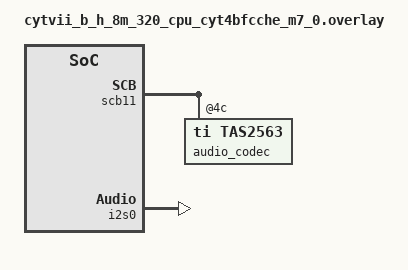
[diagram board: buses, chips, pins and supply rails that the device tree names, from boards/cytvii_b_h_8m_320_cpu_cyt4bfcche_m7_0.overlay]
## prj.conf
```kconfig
CONFIG_I2S=y
#CONFIG_I2C=y
CONFIG_SPI=y
CONFIG_DMA=y
CONFIG_AUDIO=y
CONFIG_AUDIO_CODEC=y
CONFIG_LOG=y
CONFIG_I2S_INFINEON_TX_QUEUE_SIZE=32
CONFIG_I2S_INFINEON_RX_QUEUE_SIZE=32
CONFIG_SAMPLE_FREQ=32000

CONFIG_MAIN_STACK_SIZE=4096
# CONFIG_NO_OPTIMIZATIONS=y
CONFIG_LOG=y
CONFIG_LOG_DEFAULT_LEVEL=3
CONFIG_ISR_STACK_SIZE=4096
CONFIG_LOG=y
CONFIG_LOG_MODE_MINIMAL=y
CONFIG_MPU_STACK_GUARD=y
```

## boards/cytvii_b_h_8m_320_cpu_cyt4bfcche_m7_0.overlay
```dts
/ {
        aliases {
                i2s-codec-tx = &i2s0;
        };
};

&scb11 {
        status = "okay";

	 audio_codec: tas2563@4c {
                compatible = "ti,tas2563";
                reg = <0x4c>;
                status = "okay";
        };
};

&dma1 {
	status = "okay";
};

/*
&clk_hf7 {
	status = "okay";
};

&clk_hf6 {
	status = "okay";
};

&clk_hf5 {
	status = "okay";
};
*/
&i2s0 {
        status = "okay";
};
```

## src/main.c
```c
/*
 * Copyright (c) 2026 Linumiz
 */

#include <zephyr/kernel.h>
#include <zephyr/sys/printk.h>
#include <zephyr/drivers/i2c.h>
#include <zephyr/drivers/i2s.h>
#include <zephyr/audio/codec.h>
#include <zephyr/toolchain.h>

#include "song.h"   /* provides __16kHz_16bit_stereo_sine_pcm + _len */

#define I2S_CODEC_TX       DT_ALIAS(i2s_codec_tx)
#define SAMPLE_FREQUENCY   CONFIG_SAMPLE_FREQ
#define SAMPLE_BIT_WIDTH   16U
#define NUMBER_OF_CHANNELS 2U

/* Keep this small (your i2s_infineon driver was failing with big blocks) */
#define BLOCK_SIZE         320U

#define TIMEOUT_MS         2000U

/* Provide enough slab blocks so the driver queue can stay fed */
#define BLOCK_COUNT        16

K_MEM_SLAB_DEFINE_IN_SECT_STATIC(mem_slab, __nocache, BLOCK_SIZE, BLOCK_COUNT, 4);

static int i2s_send_block_retry(const struct device *i2s_dev, void *mem_block, size_t block_size)
{
    int ret;

    do {
        ret = i2s_buf_write(i2s_dev, mem_block, block_size);
        if (ret == -EAGAIN) {
            /* TX queue full -> let ISR/DMA consume and retry */
            k_msleep(1);
        }
//	printf("in a loop\n");
    } while (ret == -EAGAIN);

    return ret;
}

int main(void)
{
    const struct device *const i2s_dev  = DEVICE_DT_GET(I2S_CODEC_TX);

    struct i2s_config i2s_cfg = {0};
    int ret;
#if 1
    const struct device *const codec_dev = DEVICE_DT_GET(DT_NODELABEL(audio_codec));
    struct audio_codec_cfg audio_cfg = {0};
#if 0
    const struct device *const i2c_dev  = DEVICE_DT_GET(DT_NODELABEL(scb8));
    if (!device_is_ready(i2c_dev)) {
        printk("ERROR: I2C device not ready!\n");
        return -1;
    }

    ret = i2c_configure(i2c_dev, I2C_SPEED_SET(I2C_SPEED_STANDARD) | I2C_MODE_CONTROLLER);
    if (ret < 0) {
        printk("ERROR: Failed to configure I2C (err %d)\n", ret);
        return -1;
    }
#endif
    if (!device_is_ready(i2s_dev)) {
        printk("ERROR: %s not ready\n", i2s_dev->name);
        return -1;
    }
    if (!device_is_ready(codec_dev)) {
        printk("ERROR: codec not ready\n");
        return -1;
    }

    /* Codec setup (playback) */
    audio_cfg.dai_route = AUDIO_ROUTE_PLAYBACK;
    audio_cfg.dai_type  = AUDIO_DAI_TYPE_I2S;
    audio_cfg.dai_cfg.i2s.word_size      = SAMPLE_BIT_WIDTH;
    audio_cfg.dai_cfg.i2s.channels       = NUMBER_OF_CHANNELS;
    audio_cfg.dai_cfg.i2s.format         = I2S_FMT_DATA_FORMAT_I2S;

#ifdef CONFIG_USE_CODEC_CLOCK
    audio_cfg.dai_cfg.i2s.options        = I2S_OPT_FRAME_CLK_MASTER | I2S_OPT_BIT_CLK_MASTER;
#else
    audio_cfg.dai_cfg.i2s.options        = I2S_OPT_FRAME_CLK_SLAVE  | I2S_OPT_BIT_CLK_SLAVE;
#endif

    audio_cfg.dai_cfg.i2s.frame_clk_freq = SAMPLE_FREQUENCY;
    audio_cfg.dai_cfg.i2s.mem_slab       = &mem_slab;
    audio_cfg.dai_cfg.i2s.block_size     = BLOCK_SIZE;

   audio_codec_configure(codec_dev, &audio_cfg);
   audio_codec_start_output(codec_dev);

  // k_msleep(200);
#endif

    /* I2S TX setup */
    i2s_cfg.word_size      = SAMPLE_BIT_WIDTH;
    i2s_cfg.channels       = NUMBER_OF_CHANNELS;
    i2s_cfg.format         = I2S_FMT_DATA_FORMAT_I2S;

#ifdef CONFIG_USE_CODEC_CLOCK
    /* Codec provides clocks, so MCU is slave */
    i2s_cfg.options        = I2S_OPT_BIT_CLK_SLAVE | I2S_OPT_FRAME_CLK_SLAVE;
#else
    /* MCU provides clocks */
    i2s_cfg.options        = I2S_OPT_BIT_CLK_MASTER | I2S_OPT_FRAME_CLK_MASTER;
#endif

    i2s_cfg.frame_clk_freq = SAMPLE_FREQUENCY;
    i2s_cfg.mem_slab       = &mem_slab;
    i2s_cfg.block_size     = BLOCK_SIZE;
    i2s_cfg.timeout        = TIMEOUT_MS;

    ret = i2s_configure(i2s_dev, I2S_DIR_TX, &i2s_cfg);
    if (ret < 0) {
        printk("ERROR: i2s_configure(TX) failed: %d\n", ret);
        return ret;
    }

    /* Prime the TX queue with a few blocks before START */
    size_t off = 0;
    const uint8_t *buf = __16kHz16bit_stereo_sine_pcm;
    const size_t len   = __16kHz16bit_stereo_sine_pcm_len;
    printf("length = %d \n", len);

    BUILD_ASSERT(BLOCK_SIZE <= __16kHz16bit_stereo_sine_pcm_len,
                 "BLOCK_SIZE bigger than sine buffer."); /* [file:16] pattern */

    for (int i = 0; i < 4; i++) {
        if (off + BLOCK_SIZE > len) {
            off = 0;
        }

        ret = i2s_send_block_retry(i2s_dev, (void *)&buf[off], BLOCK_SIZE);
        if (ret < 0) {
            printf("ERROR: prime i2s_buf_write failed: %d\n", ret);
            return ret;
        }
        off += BLOCK_SIZE;
    }

    ret = i2s_trigger(i2s_dev, I2S_DIR_TX, I2S_TRIGGER_START);
    if (ret < 0) {
        printf("ERROR: I2S_TRIGGER_START failed: %d\n", ret);
        return ret;
    }

    printf("Sine playback started (%u Hz, %u-bit, %u ch)\n",
           SAMPLE_FREQUENCY, SAMPLE_BIT_WIDTH, NUMBER_OF_CHANNELS);
    /* Continuous streaming loop */
    while (1) {
        if (off + BLOCK_SIZE > len) {
            off = 0;
        }
        ret = i2s_send_block_retry(i2s_dev, (void *)&buf[off], BLOCK_SIZE);
        if (ret < 0) {
            printf("ERROR: i2s_buf_write failed: %d\n", ret);
            break;
        }
        off += BLOCK_SIZE;
//	printf("tx ted\n");
    }
    /* If you ever exit, stop TX cleanly */
    (void)i2s_trigger(i2s_dev, I2S_DIR_TX, I2S_TRIGGER_STOP);
    (void)i2s_trigger(i2s_dev, I2S_DIR_TX, I2S_TRIGGER_DROP);
    return 0;
}
```
